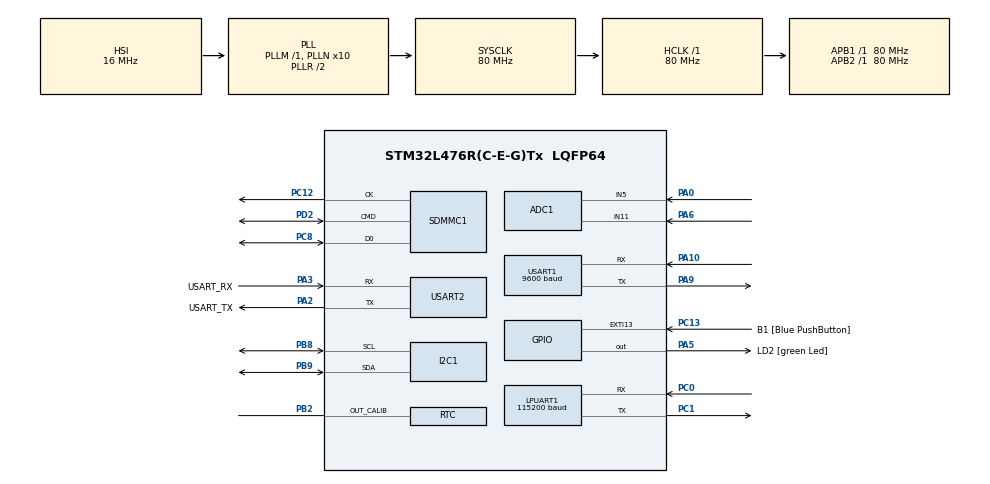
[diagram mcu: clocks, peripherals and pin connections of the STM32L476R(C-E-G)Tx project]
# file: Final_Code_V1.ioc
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ADC1.Channel-0\#ChannelRegularConversion=ADC_CHANNEL_5
ADC1.Channel-1\#ChannelRegularConversion=ADC_CHANNEL_11
ADC1.DMAContinuousRequests=ENABLE
ADC1.DiscontinuousConvMode=ENABLE
ADC1.NbrOfConversion=2
ADC1.NbrOfConversionFlag=1
ADC1.OffsetNumber-0\#ChannelRegularConversion=ADC_OFFSET_NONE
ADC1.OffsetNumber-1\#ChannelRegularConversion=ADC_OFFSET_NONE
ADC1.OversamplingMode=ENABLE
ADC1.Rank-0\#ChannelRegularConversion=1
ADC1.Rank-1\#ChannelRegularConversion=2
ADC1.SamplingTime-0\#ChannelRegularConversion=ADC_SAMPLETIME_2CYCLES_5
ADC1.SamplingTime-1\#ChannelRegularConversion=ADC_SAMPLETIME_2CYCLES_5
ADC1.master=1
Dma.ADC1.0.Direction=DMA_PERIPH_TO_MEMORY
Dma.ADC1.0.Instance=DMA1_Channel1
Dma.ADC1.0.MemDataAlignment=DMA_MDATAALIGN_HALFWORD
Dma.ADC1.0.MemInc=DMA_MINC_ENABLE
Dma.ADC1.0.Mode=DMA_CIRCULAR
Dma.ADC1.0.PeriphDataAlignment=DMA_PDATAALIGN_HALFWORD
Dma.ADC1.0.PeriphInc=DMA_PINC_DISABLE
Dma.ADC1.0.Priority=DMA_PRIORITY_LOW
Dma.Request0=ADC1
FATFS._MAX_SS=4096
LPUART1.BaudRate=115200
LPUART1.WordLength=UART_WORDLENGTH_8B
Mcu.Family=STM32L4
Mcu.Name=STM32L476R(C-E-G)Tx
Mcu.Package=LQFP64
NVIC.DMA1_Channel1_IRQn=true\:0\:0\:false\:false\:true\:false\:true
NVIC.PriorityGroup=NVIC_PRIORITYGROUP_4
NVIC.RTC_Alarm_IRQn=true\:0\:0\:false\:false\:true\:true\:true
PA0.Signal=ADCx_IN5
PA10.Mode=Asynchronous
PA10.Signal=USART1_RX
PA13\ (JTMS-SWDIO).GPIO_Label=TMS
PA13\ (JTMS-SWDIO).Mode=Serial_Wire
PA13\ (JTMS-SWDIO).Signal=SYS_JTMS-SWDIO
PA14\ (JTCK-SWCLK).GPIO_Label=TCK
PA14\ (JTCK-SWCLK).Mode=Serial_Wire
PA14\ (JTCK-SWCLK).Signal=SYS_JTCK-SWCLK
PA2.GPIO_Label=USART_TX
PA2.GPIO_Mode=GPIO_MODE_AF_PP
PA2.GPIO_PuPd=GPIO_NOPULL
PA2.GPIO_Speed=GPIO_SPEED_FREQ_VERY_HIGH
PA2.Mode=Asynchronous
PA2.Signal=USART2_TX
PA3.GPIO_Label=USART_RX
PA3.GPIO_Mode=GPIO_MODE_AF_PP
PA3.GPIO_PuPd=GPIO_NOPULL
PA3.GPIO_Speed=GPIO_SPEED_FREQ_VERY_HIGH
PA3.Mode=Asynchronous
PA3.Signal=USART2_RX
PA5.GPIO_Label=LD2 [green Led]
PA5.GPIO_ModeDefaultOutputPP=GPIO_MODE_OUTPUT_PP
PA5.GPIO_PuPd=GPIO_NOPULL
PA5.GPIO_Speed=GPIO_SPEED_FREQ_LOW
PA5.Signal=GPIO_Output
PA6.Signal=ADCx_IN11
PA9.Mode=Asynchronous
PA9.Signal=USART1_TX
PB2.Mode=Calibration_1Hz
PB2.Signal=RTC_OUT_CALIB
PB3\ (JTDO-TRACESWO).GPIO_Label=SWO
PB3\ (JTDO-TRACESWO).Signal=SYS_JTDO-SWO
PB8.Mode=I2C
PB8.Signal=I2C1_SCL
PB9.Mode=I2C
PB9.Signal=I2C1_SDA
PC0.Mode=Asynchronous
PC0.Signal=LPUART1_RX
PC1.Mode=Asynchronous
PC1.Signal=LPUART1_TX
PC12.Mode=SD_1_bit
PC12.Signal=SDMMC1_CK
PC13.GPIO_Label=B1 [Blue PushButton]
PC13.GPIO_ModeDefaultEXTI=GPIO_MODE_IT_FALLING
PC13.GPIO_PuPd=GPIO_NOPULL
PC13.Signal=GPXTI13
PC14-OSC32_IN\ (PC14).Mode=LSE-External-Oscillator
PC14-OSC32_IN\ (PC14).Signal=RCC_OSC32_IN
PC15-OSC32_OUT\ (PC15).Mode=LSE-External-Oscillator
PC15-OSC32_OUT\ (PC15).Signal=RCC_OSC32_OUT
PC8.Mode=SD_1_bit
PC8.Signal=SDMMC1_D0
PD2.Mode=SD_1_bit
PD2.Signal=SDMMC1_CMD
PH0-OSC_IN\ (PH0).Signal=RCC_OSC_IN
PH1-OSC_OUT\ (PH1).Signal=RCC_OSC_OUT
ProjectManager.HeapSize=0x2000
ProjectManager.StackSize=0x4000
ProjectManager.TargetToolchain=TrueSTUDIO
RCC.ADCFreq_Value=64000000
RCC.AHBFreq_Value=80000000
RCC.APB1Freq_Value=80000000
RCC.APB1TimFreq_Value=80000000
RCC.APB2Freq_Value=80000000
RCC.APB2TimFreq_Value=80000000
RCC.CortexFreq_Value=80000000
RCC.HCLKFreq_Value=80000000
RCC.HSE_VALUE=8000000
RCC.HSI_VALUE=16000000
RCC.MSI_VALUE=4000000
RCC.PLLN=10
RCC.PLLSAI1Q=RCC_PLLQ_DIV4
RCC.PLLSourceVirtual=RCC_PLLSOURCE_HSI
RCC.PREFETCH_ENABLE=1
RCC.RTCClockSelection=RCC_RTCCLKSOURCE_LSE
RCC.SYSCLKFreq_VALUE=80000000
RCC.SYSCLKSource=RCC_SYSCLKSOURCE_PLLCLK
RCC.USBFreq_Value=32000000
RCC.VCOOutputFreq_Value=160000000
RTC.Alarm-Alarm\ A=RTC_ALARM_A
RTC.Seconds_A-Alarm\ A=10
SH.ADCx_IN11.0=ADC1_IN11,IN11-Single-Ended
SH.ADCx_IN5.0=ADC1_IN5,IN5-Single-Ended
USART1.BaudRate=9600
USART1.VirtualMode-Asynchronous=VM_ASYNC
USART2.VirtualMode-Asynchronous=VM_ASYNC
VP_FATFS_VS_SDIO.Mode=SDIO
VP_RTC_VS_RTC_Activate.Mode=RTC_Enabled
VP_RTC_VS_RTC_Alarm_A_Intern.Mode=Alarm A
VP_RTC_VS_RTC_Calendar.Mode=RTC_Calendar
board=NUCLEO-L476RG

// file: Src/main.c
/* USER CODE BEGIN Header */
/**
  ******************************************************************************
  * @file           : main.c
  * @brief          : Main program body
  ******************************************************************************
  * This notice applies to any and all portions of this file
  * that are not between comment pairs USER CODE BEGIN and
  * USER CODE END. Other portions of this file, whether
  * inserted by the user or by software development tools
  * are owned by their respective copyright owners.
  *
  * Copyright (c) 2019 STMicroelectronics International N.V.
  * All rights reserved.
  *
  * Redistribution and use in source and binary forms, with or without
  * modification, are permitted, provided that the following conditions are met:
  *
  * 1. Redistribution of source code must retain the above copyright notice,
  *    this list of conditions and the following disclaimer.
  * 2. Redistributions in binary form must reproduce the above copyright notice,
  *    this list of conditions and the following disclaimer in the documentation
  *    and/or other materials provided with the distribution.
  * 3. Neither the name of STMicroelectronics nor the names of other
  *    contributors to this software may be used to endorse or promote products
  *    derived from this software without specific written permission.
  * 4. This software, including modifications and/or derivative works of this
  *    software, must execute solely and exclusively on microcontroller or
  *    microprocessor devices manufactured by or for STMicroelectronics.
  * 5. Redistribution and use of this software other than as permitted under
  *    this license is void and will automatically terminate your rights under
  *    this license.
  *
  * THIS SOFTWARE IS PROVIDED BY STMICROELECTRONICS AND CONTRIBUTORS "AS IS"
  * AND ANY EXPRESS, IMPLIED OR STATUTORY WARRANTIES, INCLUDING, BUT NOT
  * LIMITED TO, THE IMPLIED WARRANTIES OF MERCHANTABILITY, FITNESS FOR A
  * PARTICULAR PURPOSE AND NON-INFRINGEMENT OF THIRD PARTY INTELLECTUAL PROPERTY
  * RIGHTS ARE DISCLAIMED TO THE FULLEST EXTENT PERMITTED BY LAW. IN NO EVENT
  * SHALL STMICROELECTRONICS OR CONTRIBUTORS BE LIABLE FOR ANY DIRECT, INDIRECT,
  * INCIDENTAL, SPECIAL, EXEMPLARY, OR CONSEQUENTIAL DAMAGES (INCLUDING, BUT NOT
  * LIMITED TO, PROCUREMENT OF SUBSTITUTE GOODS OR SERVICES; LOSS OF USE, DATA,
  * OR PROFITS; OR BUSINESS INTERRUPTION) HOWEVER CAUSED AND ON ANY THEORY OF
  * LIABILITY, WHETHER IN CONTRACT, STRICT LIABILITY, OR TORT (INCLUDING
  * NEGLIGENCE OR OTHERWISE) ARISING IN ANY WAY OUT OF THE USE OF THIS SOFTWARE,
  * EVEN IF ADVISED OF THE POSSIBILITY OF SUCH DAMAGE.
  *
  ******************************************************************************
  */
/* USER CODE END Header */

#include "main.h"
#include "adc.h"
#include "dma.h"
#include "fatfs.h"
#include "i2c.h"
#include "usart.h"
#include "rtc.h"
#include "sdmmc.h"
#include "gpio.h"

/* USER CODE BEGIN Includes */

#include "SENSORS_V6.h"
#include "string.h"
#include "gps.h"
#include "lora_fonction.h"
#include "flash.h"
#include "stm32l4xx_hal_flash_ex.h"

/* USER CODE END Includes */

/* USER CODE BEGIN PV */
uint8_t aShowTime[50] = {0};
uint8_t toggle=1;
uint64_t erreur = 0;
uint8_t i = 0;
uint32_t erreur_data = 0;
uint32_t erreur_write = 0x00;

uint32_t *ptr2=ADDR_FLASH_PAGE_19;

uint32_t cpt_flash = 0;

/* USER CODE END PV */

void SystemClock_Config(void);
/* USER CODE BEGIN PFP */
static void RTC_TimeShow(uint8_t* showtime)
{
  RTC_DateTypeDef sdatestructureget;
  RTC_TimeTypeDef stimestructureget;

  /* Get the RTC current Time */
  HAL_RTC_GetTime(&hrtc, &stimestructureget, RTC_FORMAT_BIN);
  /* Get the RTC current Date */
  HAL_RTC_GetDate(&hrtc, &sdatestructureget, RTC_FORMAT_BIN);
  /* Display time Format : hh:mm:ss */
  sprintf((char*)showtime,"%02d:%02d:%02d",stimestructureget.Hours, stimestructureget.Minutes, stimestructureget.Seconds);
 // HAL_UART_Transmit(&huart2,showtime,50,100);
}

static void SystemPower_Config(void)
{
  GPIO_InitTypeDef GPIO_InitStructure;

  /* Enable PWR clock */
  __HAL_RCC_PWR_CLK_ENABLE();
}

/* USER CODE END PFP */

int main(void){

  /* MCU Configuration--------------------------------------------------------*/

  /* Reset of all peripherals, Initializes the Flash interface and the Systick. */
  HAL_Init();

  /* Configure the system clock */
  SystemClock_Config();

  /* Initialize all configured peripherals */
  MX_GPIO_Init();
  MX_DMA_Init();
  MX_USART2_UART_Init();
  MX_ADC1_Init();
  MX_I2C1_Init();
  MX_USART1_UART_Init();
  MX_SDMMC1_SD_Init();
  MX_FATFS_Init();
  MX_LPUART1_UART_Init();
 // MX_RTC_Init();
  HAL_UART_DeInit(&huart1);
  HAL_UART_Init(&huart1);
  /* USER CODE BEGIN 2 */

  //*****************************INIT SENSORS*************************//

  TEMP_HUM_init();
  PRES_init();
  MAGN_init();
  DMA_init();

HAL_Delay(10);

 int32_t GPS_COORD[4];

//OTAA
/*

  LORA_AT_SET("AT+APPEUI=db815fb2f1feaf0c");//AT+APPEUI=70b3d57ed0014d9e ABP
  HAL_UART_DeInit(&hlpuart1);
  HAL_UART_Init(&hlpuart1);

  LORA_AT_SET("AT+AK=fc72a6df7236532872eb1aeeccd0e306");//OTAA
  HAL_UART_DeInit(&hlpuart1);
  HAL_UART_Init(&hlpuart1);

  //OTAA END

*/

  //ABP

  LORA_AT_SET("AT+APPEUI=70b3d57ed0014d9e");
  HAL_UART_DeInit(&hlpuart1);
  HAL_UART_Init(&hlpuart1);

  LORA_AT_SET("AT+ASK=9a2e35347a2da3c76f583e31db2fadab");
  HAL_UART_DeInit(&hlpuart1);
  HAL_UART_Init(&hlpuart1);

  LORA_AT_SET("AT+NSK=1a47ad204af7bba26a11acd46a43d5c7");
  HAL_UART_DeInit(&hlpuart1);
  HAL_UART_Init(&hlpuart1);

  LORA_AT_SET("AT+ADDR=26011a95");
  HAL_UART_DeInit(&hlpuart1);
  HAL_UART_Init(&hlpuart1);
//ABP END

  LORA_AT_SET("AT+DC=0");
  HAL_UART_DeInit(&hlpuart1);
  HAL_UART_Init(&hlpuart1);

  LORA_AT_SET("AT+DR=4");
  HAL_UART_DeInit(&hlpuart1);
  HAL_UART_Init(&hlpuart1);

  LORA_AT_JOIN_SET(0);
  HAL_UART_DeInit(&hlpuart1);
  HAL_UART_Init(&hlpuart1);

  //*****************************END INIT LORA****************************/

  //*****************************SEND THROUGH LORA***********************//

  char buff_lon[20];
  char buff_lat[20];
  char buff_alt[20];
  char buff_temp[20];
  char buff_hum[20];
  char buff_pres[20];

  //*****************************END SEND THROUGH LORA*******************//

  HAL_UART_DeInit(&hlpuart1);
  HAL_UART_Init(&hlpuart1);

  //*****************************FLASH**********************************//
  uint64_t cpt;

  /* USER CODE END 2 */

  /* Infinite loop */
  /* USER CODE BEGIN WHILE */
  while (1)
  {

	  RTC_TimeShow(aShowTime);
		  if (toggle==1){

			  get_TEMP();				//TEMPERATURE		(°C)
			  get_HUM();				//HUMIDITE			(%)
			  get_PRES();				//PRESSION			(mbar ou hPa)
			  get_MAGN();				//CHAMP MAGNETIQUE	(mgauss)
			  get_ADC();				//GAS				(ppm)
			  GPS_GETPOS(GPS_COORD);	//POSITION GPS		(m)

			  cpt=*ptr2;
			  cpt++;

  EraseFlash(ADDR_FLASH_PAGE_19,ADDR_FLASH_PAGE_19+31);
 WriteFlash(ADDR_FLASH_PAGE_19, cpt, ADDR_FLASH_PAGE_19+31);

			 LORA_AT_SEND(CONV_CHAR32(GPS_COORD[0],buff_lon),CONV_CHAR32(GPS_COORD[1],buff_lat),CONV_CHAR32(GPS_COORD[2],buff_alt),CONV_CHAR(temp16[0],buff_temp), CONV_CHAR(hum16_x2[0],buff_hum),CONV_CHAR32(pres32[0]*10,buff_pres));
			//  SD_SENSORS(GPS_COORD[0],GPS_COORD[1],GPS_COORD[2],erreur_data);

						if((cpt)%5 == 0)
			 			  	   {
									erreur_data=ReadFlash(FLASH_USER_START_ADDR, DATA_32);
			 			  		  	erreur = EraseFlash(FLASH_USER_START_ADDR,ADDR_FLASH_PAGE_255-1);

			 			  		  	erreur_write= WriteFlash(FLASH_USER_START_ADDR, DATA_64, ADDR_FLASH_PAGE_255-1);

			 			  		  	//  erreur_data = algo_flash_test(FLASH_USER_START_ADDR, FLASH_USER_END_ADDR, DATA_32, DATA_64);
			 			  		  	cpt_flash++;

			 			  	   }
			  GPS_COORD[0]=0;
			  GPS_COORD[1]=1;
			  GPS_COORD[2]=2;
			  erreur_data=3;
						 SD_SENSORS(GPS_COORD[0],GPS_COORD[1],GPS_COORD[2],erreur_data);

/* ************* LOW POWER MANAGEMENT ******************/
/* Clear all related wakeup flags */
			  __HAL_PWR_CLEAR_FLAG(PWR_FLAG_WU);
			  toggle=0;
			  MX_RTC_Init();
			  HAL_PWR_EnterSTANDBYMode();

		  }
    /* USER CODE END WHILE */

  }
}

void SystemClock_Config(void)
{
  RCC_OscInitTypeDef RCC_OscInitStruct = {0};
  RCC_ClkInitTypeDef RCC_ClkInitStruct = {0};
  RCC_PeriphCLKInitTypeDef PeriphClkInit = {0};

  /**Configure LSE Drive Capability
  */
  HAL_PWR_EnableBkUpAccess();
  __HAL_RCC_LSEDRIVE_CONFIG(RCC_LSEDRIVE_LOW);
  /**Initializes the CPU, AHB and APB busses clocks
  */
  RCC_OscInitStruct.OscillatorType = RCC_OSCILLATORTYPE_HSI|RCC_OSCILLATORTYPE_LSE;
  RCC_OscInitStruct.LSEState = RCC_LSE_ON;
  RCC_OscInitStruct.HSIState = RCC_HSI_ON;
  RCC_OscInitStruct.HSICalibrationValue = RCC_HSICALIBRATION_DEFAULT;
  RCC_OscInitStruct.PLL.PLLState = RCC_PLL_ON;
  RCC_OscInitStruct.PLL.PLLSource = RCC_PLLSOURCE_HSI;
  RCC_OscInitStruct.PLL.PLLM = 1;
  RCC_OscInitStruct.PLL.PLLN = 10;
  RCC_OscInitStruct.PLL.PLLP = RCC_PLLP_DIV7;
  RCC_OscInitStruct.PLL.PLLQ = RCC_PLLQ_DIV2;
  RCC_OscInitStruct.PLL.PLLR = RCC_PLLR_DIV2;
  if (HAL_RCC_OscConfig(&RCC_OscInitStruct) != HAL_OK)
  {
    Error_Handler();
  }
  /**Initializes the CPU, AHB and APB busses clocks
  */
  RCC_ClkInitStruct.ClockType = RCC_CLOCKTYPE_HCLK|RCC_CLOCKTYPE_SYSCLK
                              |RCC_CLOCKTYPE_PCLK1|RCC_CLOCKTYPE_PCLK2;
  RCC_ClkInitStruct.SYSCLKSource = RCC_SYSCLKSOURCE_PLLCLK;
  RCC_ClkInitStruct.AHBCLKDivider = RCC_SYSCLK_DIV1;
  RCC_ClkInitStruct.APB1CLKDivider = RCC_HCLK_DIV1;
  RCC_ClkInitStruct.APB2CLKDivider = RCC_HCLK_DIV1;

  if (HAL_RCC_ClockConfig(&RCC_ClkInitStruct, FLASH_LATENCY_4) != HAL_OK)
  {
    Error_Handler();
  }
  PeriphClkInit.PeriphClockSelection = RCC_PERIPHCLK_RTC|RCC_PERIPHCLK_USART1
                              |RCC_PERIPHCLK_USART2|RCC_PERIPHCLK_LPUART1
                              |RCC_PERIPHCLK_I2C1|RCC_PERIPHCLK_SDMMC1
                              |RCC_PERIPHCLK_ADC;
  PeriphClkInit.Usart1ClockSelection = RCC_USART1CLKSOURCE_PCLK2;
  PeriphClkInit.Usart2ClockSelection = RCC_USART2CLKSOURCE_PCLK1;
  PeriphClkInit.Lpuart1ClockSelection = RCC_LPUART1CLKSOURCE_PCLK1;
  PeriphClkInit.I2c1ClockSelection = RCC_I2C1CLKSOURCE_PCLK1;
  PeriphClkInit.AdcClockSelection = RCC_ADCCLKSOURCE_PLLSAI1;
  PeriphClkInit.RTCClockSelection = RCC_RTCCLKSOURCE_LSE;
  PeriphClkInit.Sdmmc1ClockSelection = RCC_SDMMC1CLKSOURCE_PLLSAI1;
  PeriphClkInit.PLLSAI1.PLLSAI1Source = RCC_PLLSOURCE_HSI;
  PeriphClkInit.PLLSAI1.PLLSAI1M = 1;
  PeriphClkInit.PLLSAI1.PLLSAI1N = 8;
  PeriphClkInit.PLLSAI1.PLLSAI1P = RCC_PLLP_DIV7;
  PeriphClkInit.PLLSAI1.PLLSAI1Q = RCC_PLLQ_DIV4;
  PeriphClkInit.PLLSAI1.PLLSAI1R = RCC_PLLR_DIV2;
  PeriphClkInit.PLLSAI1.PLLSAI1ClockOut = RCC_PLLSAI1_48M2CLK|RCC_PLLSAI1_ADC1CLK;
  if (HAL_RCCEx_PeriphCLKConfig(&PeriphClkInit) != HAL_OK)
  {
    Error_Handler();
  }
  /**Configure the main internal regulator output voltage
  */
  if (HAL_PWREx_ControlVoltageScaling(PWR_REGULATOR_VOLTAGE_SCALE1) != HAL_OK)
  {
    Error_Handler();
  }
}

/* USER CODE BEGIN 4 */
void HAL_RTC_AlarmAEventCallback(RTC_HandleTypeDef *hrtc)
{
	//toggle a variable to notify we can exit low power mode and execute the routine
toggle=1;
}

/* USER CODE END 4 */

void Error_Handler(void)
{
}

/************************ (C) COPYRIGHT STMicroelectronics *****END OF FILE****/
